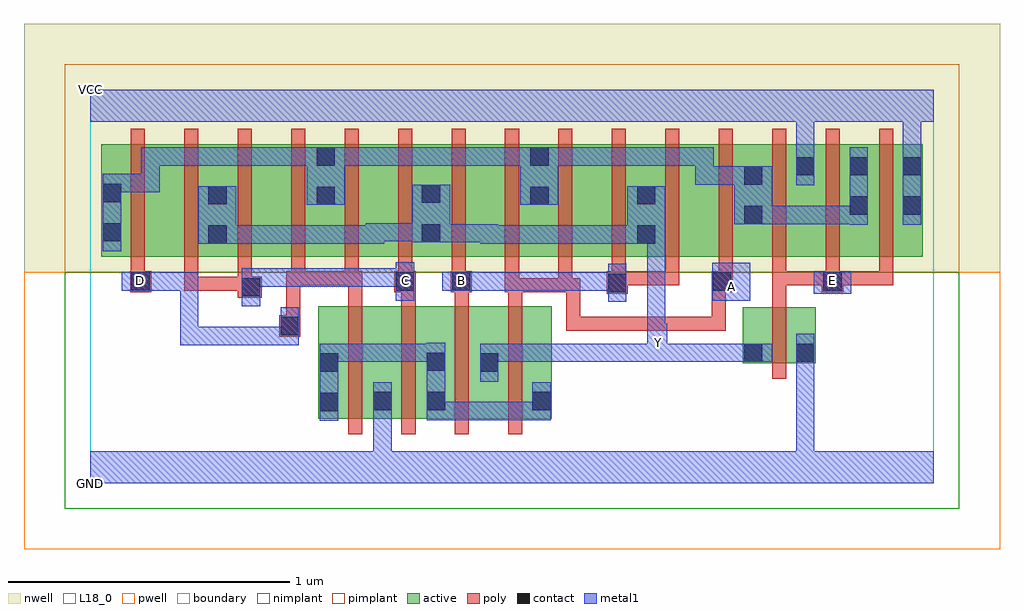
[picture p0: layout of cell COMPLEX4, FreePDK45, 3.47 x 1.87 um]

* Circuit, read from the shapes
.subckt COMPLEX4 A B C D E GND VCC Y
M1 GND D n1 VSUBS nfet w=0.4u l=0.05u
M2 n1 C GND VSUBS nfet w=0.4u l=0.05u
M3 Y B n1 VSUBS nfet w=0.4u l=0.05u
M4 n1 A Y VSUBS nfet w=0.4u l=0.05u
M5 GND E Y VSUBS nfet w=0.2u l=0.05u
M6 n2 D n3 n4 pfet w=0.4u l=0.05u
M7 Y C n2 n4 pfet w=0.4u l=0.05u
M8 n5 C Y n4 pfet w=0.4u l=0.05u
M9 n3 D n5 n4 pfet w=0.4u l=0.05u
M10 n6 D n3 n4 pfet w=0.4u l=0.05u
M11 Y C n6 n4 pfet w=0.4u l=0.05u
M12 n7 B Y n4 pfet w=0.4u l=0.05u
M13 n3 A n7 n4 pfet w=0.4u l=0.05u
M14 n8 A n3 n4 pfet w=0.4u l=0.05u
M15 Y B n8 n4 pfet w=0.4u l=0.05u
M16 n9 B Y n4 pfet w=0.4u l=0.05u
M17 n3 A n9 n4 pfet w=0.4u l=0.05u
M18 VCC E n3 n4 pfet w=0.4u l=0.05u m=3
.ends

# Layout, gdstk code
import gdstk
lib = gdstk.Library(unit=1e-6, precision=1e-09)
def R(c, l, rs):  # rectangles x0, y0, x1, y1
    for r in rs: c.add(gdstk.rectangle(r[:2], r[2:], *l))
def A(c, l, x, y, w, h, nx, ny, dx, dy):  # array of equal rectangles
    R(c, l, [(x+i*dx, y+j*dy, x+i*dx+w, y+j*dy+h) for i in range(nx) for j in range(ny)])
active = (1, 0)
pwell = (2, 0)
nwell = (3, 0)
nimplant = (4, 0)
pimplant = (5, 0)
poly = (9, 0)
contact = (10, 0)
metal1 = (11, 0)
L18_0 = (18, 0)
boundary = (235, 0)

complex4 = lib.new_cell('COMPLEX4')
A(complex4, active, 0.812, 0.23, 0.265, 0.4, 3, 1, 0.19, 0)
A(complex4, active, 0.8, 0.805, 0.075, 0.395, 3, 1, 0.76, 0)
A(complex4, active, 1.405, 0.805, 0.23, 0.4, 3, 1, 0.38, 0)
R(complex4, active, [(0.812,0.23,0.887,0.63), (1.002,0.23,1.077,0.492), (1.192,0.23,1.267,0.492), (1.382,0.23,1.642,0.63), (1.567,0.23,1.642,0.63), (1.382,0.295,1.457,0.492), (2.32,0.427,2.395,0.627), (2.32,0.427,2.58,0.627), (2.505,0.427,2.58,0.627), (0.04,0.805,0.265,1.205), (0.04,0.805,0.145,1.2), (0.265,0.805,0.49,1.205), (0.415,0.805,0.645,1.205), (0.415,0.805,0.49,1.07), (0.645,0.805,0.875,1.205), (0.8,0.805,1.025,1.205), (1.025,0.805,1.25,1.205), (1.175,0.805,1.405,1.205), (1.175,0.805,1.25,1.07), (1.56,0.805,1.785,1.205), (1.94,0.805,2.165,1.205), (1.94,0.805,2.015,1.07), (2.32,0.805,2.58,1.205), (2.505,0.805,2.58,1.205), (2.505,0.805,2.77,1.205), (2.695,0.805,2.96,1.205), (2.695,0.805,2.77,1.2), (2.885,0.805,2.96,1.205)])
R(complex4, pwell, [(-0.235,-0.235,3.235,0.75)])
R(complex4, nwell, [(-0.235,0.75,3.235,1.635)])
R(complex4, nimplant, [(-0.09,-0.09,3.09,0.75)])
R(complex4, pimplant, [(-0.09,0.75,3.09,1.49)])
A(complex4, poly, 0.917, 0.175, 0.05, 0.51, 4, 1, 0.19, 0)
A(complex4, poly, 1.107, 0.635, 0.05, 0.095, 3, 1, 0.19, 0)
A(complex4, poly, 0.715, 0.705, 0.05, 0.095, 4, 1, 0.19, 0)
A(complex4, poly, 1.855, 0.705, 0.05, 0.095, 6, 1, 0.19, 0)
A(complex4, poly, 0.145, 0.75, 0.05, 0.51, 15, 1, 0.19, 0)
R(complex4, poly, [(2.425,0.372,2.475,0.682), (0.672,0.522,0.747,0.597), (1.692,0.542,1.742,0.592), (1.692,0.542,1.742,0.592), (1.692,0.542,1.742,0.592), (1.692,0.542,1.742,0.592), (1.692,0.542,1.742,0.592), (1.692,0.542,1.742,0.73), (1.692,0.542,1.875,0.592), (1.825,0.542,1.875,0.592), (1.825,0.542,1.875,0.592), (1.825,0.542,1.875,0.592), (1.825,0.542,2.127,0.592), (2.077,0.542,2.127,0.592), (2.077,0.542,2.26,0.592), (2.21,0.542,2.26,0.592), (2.21,0.542,2.26,0.592), (2.21,0.542,2.26,0.592), (2.21,0.542,2.26,0.73), (0.697,0.547,0.747,0.755), (2.425,0.632,2.475,0.755), (0.917,0.635,0.967,0.755), (0.525,0.66,0.61,0.735), (1.837,0.675,1.912,0.755), (0.142,0.68,0.217,0.755), (1.082,0.68,1.157,0.755), (1.282,0.68,1.357,0.755), (1.475,0.68,1.525,0.8), (1.475,0.68,1.537,0.73), (1.487,0.68,1.715,0.73), (1.487,0.68,1.537,0.73), (1.487,0.68,1.537,0.73), (1.665,0.68,1.715,0.8), (1.665,0.68,1.742,0.73), (2.21,0.68,2.26,0.73), (2.21,0.68,2.26,0.73), (2.21,0.68,2.285,0.755), (2.602,0.68,2.677,0.755), (0.335,0.685,0.385,0.735), (0.335,0.685,0.575,0.735), (0.335,0.685,0.385,0.8), (0.525,0.685,0.575,0.735), (0.525,0.685,0.575,0.735), (0.525,0.685,0.575,0.8), (0.145,0.705,0.195,0.8), (0.697,0.705,0.762,0.755), (0.712,0.705,0.762,0.755), (0.712,0.705,0.765,0.755), (0.715,0.705,0.955,0.755), (0.905,0.705,0.955,0.755), (0.905,0.705,0.955,0.755), (0.905,0.705,0.967,0.755), (1.862,0.705,1.912,0.755), (1.862,0.705,1.912,0.755), (1.862,0.705,2.095,0.755), (2.045,0.705,2.095,0.755), (2.425,0.705,2.475,0.755), (2.425,0.705,2.475,0.755), (2.425,0.705,2.475,0.755), (2.425,0.705,2.652,0.755), (2.627,0.705,2.855,0.755), (2.627,0.705,2.677,0.755), (2.627,0.705,2.677,0.755), (2.805,0.705,2.855,0.755)])
A(complex4, contact, 2.51, 1.095, 0.065, 0.065, 3, 1, 0.19, 0)
R(complex4, contact, [(0.817,0.257,0.882,0.322), (1.007,0.26,1.072,0.325), (1.197,0.26,1.262,0.325), (1.572,0.26,1.637,0.325), (0.817,0.397,0.882,0.462), (1.387,0.397,1.452,0.462), (1.197,0.4,1.262,0.465), (2.325,0.432,2.39,0.497), (2.51,0.432,2.575,0.497), (0.677,0.527,0.742,0.592), (0.54,0.665,0.605,0.73), (1.842,0.68,1.907,0.745), (0.147,0.685,0.212,0.75), (1.087,0.685,1.152,0.75), (1.287,0.685,1.352,0.75), (2.215,0.685,2.28,0.75), (2.607,0.685,2.672,0.75), (0.42,0.852,0.485,0.917), (1.945,0.852,2.01,0.917), (1.18,0.857,1.245,0.922), (0.045,0.86,0.11,0.925), (2.325,0.922,2.39,0.987), (2.7,0.955,2.765,1.02), (2.89,0.955,2.955,1.02), (0.805,0.99,0.87,1.055), (1.565,0.99,1.63,1.055), (0.42,0.992,0.485,1.057), (1.945,0.992,2.01,1.057), (1.18,0.997,1.245,1.062), (0.045,1,0.11,1.065), (2.325,1.062,2.39,1.127), (0.805,1.13,0.87,1.195), (1.565,1.13,1.63,1.195)])
R(complex4, metal1, [(0,0,3,0.115), (1.007,0.05,1.072,0.29), (2.51,0.05,2.575,0.115), (2.51,0.05,2.575,0.115), (2.51,0.05,2.575,0.115), (2.51,0.05,2.575,0.115), (2.51,0.05,2.575,0.462), (0.817,0.222,0.882,0.497), (1.007,0.225,1.072,0.29), (1.007,0.225,1.072,0.29), (1.007,0.225,1.072,0.36), (1.197,0.225,1.262,0.5), (1.197,0.225,1.262,0.29), (1.197,0.225,1.262,0.29), (1.197,0.225,1.417,0.29), (1.352,0.225,1.417,0.29), (1.352,0.225,1.417,0.29), (1.352,0.225,1.417,0.29), (1.352,0.225,1.555,0.29), (1.49,0.225,1.555,0.29), (1.49,0.225,1.637,0.29), (1.572,0.225,1.637,0.36), (1.387,0.362,1.452,0.497), (2.51,0.397,2.575,0.462), (2.51,0.397,2.575,0.462), (2.51,0.397,2.575,0.532), (0.817,0.432,0.882,0.497), (0.817,0.432,0.882,0.497), (0.817,0.432,1.045,0.497), (0.98,0.432,1.045,0.497), (0.98,0.432,1.045,0.497), (0.98,0.432,1.045,0.497), (0.98,0.432,1.262,0.497), (1.387,0.432,1.59,0.497), (1.525,0.432,1.59,0.497), (1.525,0.432,1.59,0.497), (1.525,0.432,1.59,0.497), (1.525,0.432,1.77,0.497), (1.705,0.432,1.77,0.497), (1.705,0.432,1.802,0.497), (1.737,0.432,1.802,0.497), (1.737,0.432,1.907,0.497), (1.842,0.432,1.907,0.497), (1.842,0.432,2.045,0.497), (1.98,0.432,2.045,0.497), (1.98,0.432,2.045,0.497), (1.98,0.432,2.045,0.497), (1.98,0.432,2.045,0.497), (1.98,0.432,2.217,0.497), (1.98,0.432,2.052,0.567), (2.152,0.432,2.217,0.497), (2.152,0.432,2.217,0.497), (2.152,0.432,2.217,0.497), (2.152,0.432,2.355,0.497), (2.29,0.432,2.425,0.497), (0.32,0.492,0.385,0.557), (0.32,0.492,0.605,0.557), (0.32,0.492,0.385,0.75), (0.54,0.492,0.605,0.557), (0.54,0.492,0.667,0.557), (0.602,0.492,0.667,0.557), (0.602,0.492,0.667,0.557), (0.602,0.492,0.667,0.557), (0.602,0.492,0.742,0.557), (0.677,0.492,0.742,0.627), (1.98,0.502,2.045,0.917), (0.54,0.63,0.605,0.765), (1.842,0.645,1.907,0.78), (1.087,0.65,1.152,0.787), (2.212,0.65,2.347,0.785), (2.572,0.675,2.707,0.752), (0.112,0.685,0.247,0.752), (0.182,0.685,0.247,0.75), (0.182,0.685,0.247,0.75), (0.182,0.685,0.385,0.75), (0.32,0.685,0.385,0.75), (0.32,0.685,0.385,0.75), (0.32,0.685,0.385,0.75), (1.252,0.685,1.387,0.752), (1.322,0.685,1.417,0.75), (1.352,0.685,1.417,0.75), (1.352,0.685,1.595,0.75), (1.53,0.685,1.595,0.75), (1.53,0.685,1.595,0.75), (1.53,0.685,1.595,0.75), (1.53,0.685,1.77,0.75), (1.705,0.685,1.77,0.75), (1.705,0.685,1.802,0.75), (1.737,0.685,1.802,0.75), (1.737,0.685,1.907,0.75), (0.54,0.7,0.667,0.765), (0.602,0.7,0.667,0.765), (0.602,0.7,0.745,0.765), (0.68,0.7,0.745,0.765), (0.68,0.7,0.882,0.765), (0.817,0.7,0.882,0.765), (0.817,0.7,0.882,0.765), (0.817,0.7,0.882,0.765), (0.817,0.7,1.072,0.765), (1.007,0.7,1.072,0.765), (1.007,0.7,1.152,0.765), (0.045,0.825,0.11,1.1), (0.385,0.852,0.52,1.057), (0.455,0.852,0.53,0.917), (0.465,0.852,0.53,0.917), (0.465,0.852,0.697,0.917), (0.632,0.852,0.697,0.917), (0.632,0.852,0.742,0.917), (0.677,0.852,0.742,0.917), (0.677,0.852,0.907,0.917), (0.842,0.852,0.907,0.917), (0.842,0.852,0.907,0.917), (0.842,0.852,0.907,0.917), (0.842,0.852,1.045,0.917), (0.98,0.852,1.045,0.925), (1.387,0.852,1.595,0.917), (1.387,0.852,1.452,0.922), (1.53,0.852,1.595,0.917), (1.53,0.852,1.595,0.917), (1.53,0.852,1.595,0.917), (1.53,0.852,1.77,0.917), (1.705,0.852,1.77,0.917), (1.705,0.852,1.802,0.917), (1.737,0.852,1.802,0.917), (1.737,0.852,1.907,0.917), (1.842,0.852,1.907,0.917), (1.842,0.852,1.975,0.917), (1.91,0.852,2.045,1.057), (1.145,0.857,1.28,1.062), (1.215,0.857,1.28,0.922), (1.215,0.857,1.28,0.922), (1.215,0.857,1.452,0.922), (0.98,0.86,1.045,0.925), (0.98,0.86,1.045,0.925), (0.98,0.86,1.21,0.925), (2.7,0.92,2.765,1.195), (2.89,0.92,2.955,1.195), (2.29,0.922,2.425,1.127), (2.36,0.922,2.425,0.987), (2.36,0.922,2.425,0.987), (2.36,0.922,2.627,0.987), (2.562,0.922,2.627,0.987), (2.562,0.922,2.765,0.987), (2.7,0.922,2.765,0.987), (2.7,0.922,2.765,0.987), (0.77,0.99,0.905,1.195), (1.53,0.99,1.665,1.195), (0.045,1.035,0.11,1.1), (0.045,1.035,0.11,1.1), (0.045,1.035,0.247,1.1), (0.182,1.035,0.247,1.1), (0.182,1.035,0.247,1.195), (2.51,1.06,2.575,1.195), (2.152,1.062,2.217,1.127), (2.152,1.062,2.217,1.127), (2.152,1.062,2.217,1.127), (2.152,1.062,2.355,1.127), (2.152,1.062,2.217,1.195), (0.182,1.13,0.247,1.195), (0.182,1.13,0.392,1.195), (0.327,1.13,0.392,1.195), (0.327,1.13,0.53,1.195), (0.465,1.13,0.53,1.195), (0.465,1.13,0.53,1.195), (0.465,1.13,0.53,1.195), (0.465,1.13,0.697,1.195), (0.632,1.13,0.697,1.195), (0.632,1.13,0.742,1.195), (0.677,1.13,0.742,1.195), (0.677,1.13,0.835,1.195), (0.84,1.13,0.905,1.195), (0.84,1.13,0.905,1.195), (0.84,1.13,1.072,1.195), (1.007,1.13,1.072,1.195), (1.007,1.13,1.072,1.195), (1.007,1.13,1.072,1.195), (1.007,1.13,1.28,1.195), (1.215,1.13,1.28,1.195), (1.215,1.13,1.417,1.195), (1.352,1.13,1.417,1.195), (1.352,1.13,1.417,1.195), (1.352,1.13,1.417,1.195), (1.352,1.13,1.595,1.195), (1.53,1.13,1.595,1.195), (1.53,1.13,1.595,1.195), (1.6,1.13,1.732,1.195), (1.667,1.13,1.732,1.195), (1.667,1.13,1.802,1.195), (1.737,1.13,1.802,1.195), (1.737,1.13,1.907,1.195), (1.842,1.13,1.907,1.195), (1.842,1.13,2.045,1.195), (1.98,1.13,2.045,1.195), (1.98,1.13,2.045,1.195), (1.98,1.13,2.045,1.195), (1.98,1.13,2.217,1.195), (2.152,1.13,2.217,1.195), (2.51,1.13,2.575,1.35), (2.89,1.13,2.955,1.35), (0,1.285,3,1.4)])
R(complex4, L18_0, [(0,0,3,0.115), (1.007,0.05,1.072,0.29), (2.51,0.05,2.575,0.115), (2.51,0.05,2.575,0.115), (2.51,0.05,2.575,0.115), (2.51,0.05,2.575,0.115), (2.51,0.05,2.575,0.462), (1.007,0.225,1.072,0.29), (1.007,0.225,1.072,0.29), (1.007,0.225,1.072,0.36), (1.387,0.362,1.452,0.497), (2.51,0.397,2.575,0.462), (2.51,0.397,2.575,0.462), (2.51,0.397,2.575,0.532), (1.387,0.432,1.59,0.497), (1.525,0.432,1.59,0.497), (1.525,0.432,1.59,0.497), (1.525,0.432,1.59,0.497), (1.525,0.432,1.77,0.497), (1.705,0.432,1.77,0.497), (1.705,0.432,1.802,0.497), (1.737,0.432,1.802,0.497), (1.737,0.432,1.907,0.497), (1.842,0.432,1.907,0.497), (1.842,0.432,2.045,0.497), (1.98,0.432,2.045,0.497), (1.98,0.432,2.045,0.497), (1.98,0.432,2.045,0.497), (1.98,0.432,2.045,0.497), (1.98,0.432,2.217,0.497), (1.98,0.432,2.052,0.567), (2.152,0.432,2.217,0.497), (2.152,0.432,2.217,0.497), (2.152,0.432,2.217,0.497), (2.152,0.432,2.355,0.497), (2.29,0.432,2.425,0.497), (1.987,0.467,2.052,0.532), (0.32,0.492,0.385,0.557), (0.32,0.492,0.385,0.75), (0.32,0.492,0.605,0.557), (0.54,0.492,0.605,0.557), (0.54,0.492,0.667,0.557), (0.602,0.492,0.667,0.557), (0.602,0.492,0.667,0.557), (0.602,0.492,0.667,0.557), (0.602,0.492,0.742,0.557), (0.677,0.492,0.742,0.627), (1.98,0.502,2.045,0.917), (0.54,0.63,0.605,0.765), (1.842,0.645,1.907,0.78), (1.087,0.65,1.152,0.787), (2.212,0.65,2.347,0.785), (2.247,0.667,2.312,0.732), (2.572,0.675,2.707,0.752), (0.112,0.685,0.247,0.752), (0.182,0.685,0.247,0.75), (0.182,0.685,0.247,0.75), (0.182,0.685,0.385,0.75), (0.32,0.685,0.385,0.75), (0.32,0.685,0.385,0.75), (0.32,0.685,0.385,0.75), (1.252,0.685,1.387,0.752), (1.322,0.685,1.417,0.75), (1.352,0.685,1.417,0.75), (1.352,0.685,1.595,0.75), (1.53,0.685,1.595,0.75), (1.53,0.685,1.595,0.75), (1.53,0.685,1.595,0.75), (1.53,0.685,1.77,0.75), (1.705,0.685,1.77,0.75), (1.705,0.685,1.802,0.75), (1.737,0.685,1.802,0.75), (1.737,0.685,1.907,0.75), (0.147,0.687,0.212,0.752), (1.087,0.687,1.152,0.752), (1.287,0.687,1.352,0.752), (2.607,0.687,2.672,0.752), (0.54,0.7,0.667,0.765), (0.602,0.7,0.667,0.765), (0.602,0.7,0.745,0.765), (0.68,0.7,0.745,0.765), (0.68,0.7,0.882,0.765), (0.817,0.7,0.882,0.765), (0.817,0.7,0.882,0.765), (0.817,0.7,0.882,0.765), (0.817,0.7,1.072,0.765), (1.007,0.7,1.072,0.765), (1.007,0.7,1.152,0.765), (0.385,0.852,0.52,1.057), (0.455,0.852,0.53,0.917), (0.465,0.852,0.53,0.917), (0.465,0.852,0.697,0.917), (0.632,0.852,0.697,0.917), (0.632,0.852,0.742,0.917), (0.677,0.852,0.742,0.917), (0.677,0.852,0.907,0.917), (0.842,0.852,0.907,0.917), (0.842,0.852,0.907,0.917), (0.842,0.852,0.907,0.917), (0.842,0.852,1.045,0.917), (0.98,0.852,1.045,0.925), (1.387,0.852,1.452,0.922), (1.387,0.852,1.595,0.917), (1.53,0.852,1.595,0.917), (1.53,0.852,1.595,0.917), (1.53,0.852,1.595,0.917), (1.53,0.852,1.77,0.917), (1.705,0.852,1.77,0.917), (1.705,0.852,1.802,0.917), (1.737,0.852,1.802,0.917), (1.737,0.852,1.907,0.917), (1.842,0.852,1.907,0.917), (1.842,0.852,1.975,0.917), (1.91,0.852,2.045,1.057), (1.145,0.857,1.28,1.062), (1.215,0.857,1.28,0.922), (1.215,0.857,1.28,0.922), (1.215,0.857,1.452,0.922), (0.98,0.86,1.045,0.925), (0.98,0.86,1.045,0.925), (0.98,0.86,1.21,0.925), (2.89,0.92,2.955,1.195), (2.51,1.06,2.575,1.195), (2.51,1.13,2.575,1.35), (2.89,1.13,2.955,1.35), (0,1.285,3,1.4)])
R(complex4, boundary, [(0,0,3,1.4)])
complex4.add(gdstk.Label('A', (2.28,0.7), layer=11, texttype=0))
complex4.add(gdstk.Label('B', (1.32,0.72), layer=11, texttype=0))
complex4.add(gdstk.Label('C', (1.12,0.72), layer=11, texttype=0))
complex4.add(gdstk.Label('D', (0.18,0.72), layer=11, texttype=0))
complex4.add(gdstk.Label('E', (2.64,0.72), layer=11, texttype=0))
complex4.add(gdstk.Label('Y', (2.02,0.5), layer=11, texttype=0))
complex4.add(gdstk.Label('VCC', (0,1.4), layer=11, texttype=0))
complex4.add(gdstk.Label('GND', (0,0), layer=11, texttype=0))

lib.write_gds('COMPLEX4.gds')
